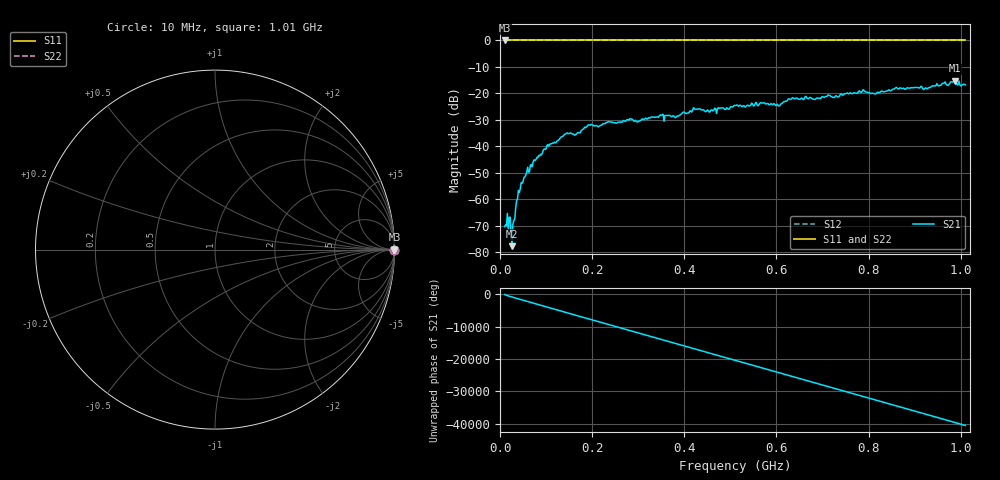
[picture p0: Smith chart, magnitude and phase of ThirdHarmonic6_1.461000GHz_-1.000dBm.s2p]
! 8/16/2025 4:59:27 PM
! C:\ANRITSUVNA\TEMP\TEMP.S2P
! CHANNEL.1
! TR.MEASUREMENT
! RAW.DATA
! RF.CORRECTION.OFF
! AVERAGING.OFF
! IF.BANDWIDTH: 5KHZ
! SWEEPTYPE:  FREQ.SWEEP(Linear)
! Reference Plane Port Info
! PORT:  PORT1  PORT2
! DISTANCE:  0  m  0  m
! TIME:  0  s  0  s
! PHASE.OFFSET:  0  deg.  0  deg.
! LOSS:  0  dB  0  dB
! REF.LOSS:  0  dB  0  dB
! REF.FREQ:  0  Hz  0  Hz
! Power Info
! POWER:  -20  dBm  -20  dBm
! EFF.POWER:  -20  dBm  -20  dBm
! SOURCE.ATTEN:  0  dB  0  dB
! TEST.ATTEN:  0  dB  0  dB
# GHZ S RI R 50.0
! FREQ.GHZ  S11RE  S11IM  S21RE  S21IM  S12RE  S12IM  S22RE  S22IM
!; PortSelection: Port_12
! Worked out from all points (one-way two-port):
!   501 points, 10 MHz to 1.01 GHz, reference 50 ohm
!   highest |S21| = -15.19 dB at 988 MHz (marker M1); lowest = -77.6 dB at 26 MHz (marker M2)
!   lowest |S11| = 0.0 dB at 10 MHz (marker M3)
!   |S11| at or under -10 dB: nowhere
!   |S22| runs from 0.0 to 0.0 dB; largest |S21 - S12| = 1.2
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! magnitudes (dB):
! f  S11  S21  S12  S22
! 10 MHz  0.0  -70.2  0.0  0.0
! 18 MHz  0.0  -71.4  0.0  0.0
! 22 MHz  0.0  -66.7  0.0  0.0
! 26 MHz  0.0  -77.6  0.0  0.0
! 28 MHz  0.0  -69.3  0.0  0.0
! 38 MHz  0.0  -59.7  0.0  0.0
! 44 MHz  0.0  -55.9  0.0  0.0
! 70 MHz  0.0  -47.7  0.0  0.0
! 106 MHz  0.0  -39.9  0.0  0.0
! 142 MHz  0.0  -35.3  0.0  0.0
! 178 MHz  0.0  -33.7  0.0  0.0
! 196 MHz  0.0  -32.0  0.0  0.0
! 344 MHz  0.0  -29.0  0.0  0.0
! 382 MHz  0.0  -29.0  0.0  0.0
! 424 MHz  0.0  -26.0  0.0  0.0
! 510 MHz  0.0  -24.6  0.0  0.0
! 604 MHz  0.0  -24.7  0.0  0.0
! 632 MHz  0.0  -22.2  0.0  0.0
! 678 MHz  0.0  -22.1  0.0  0.0
! 844 MHz  0.0  -18.6  0.0  0.0
! 988 MHz  0.0  -15.2  0.0  0.0
! 1.01 GHz  0.0  -16.8  0.0  0.0
